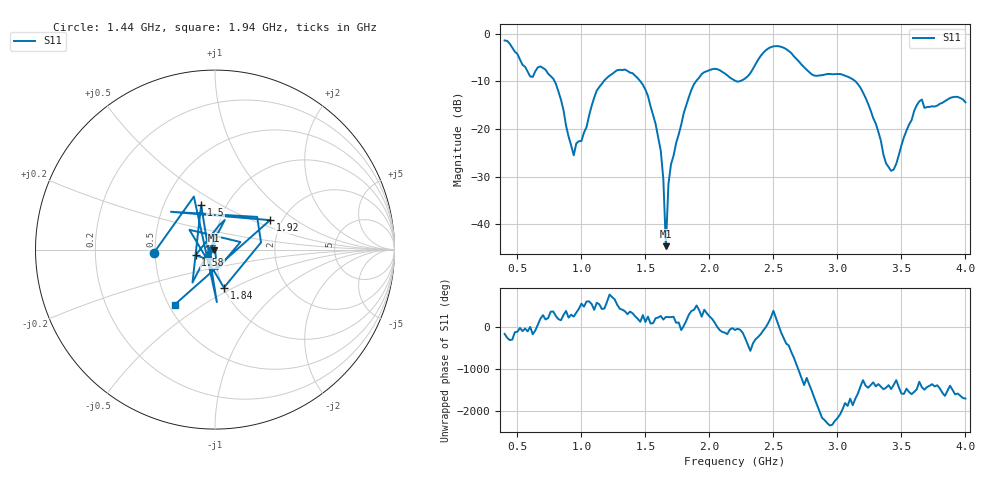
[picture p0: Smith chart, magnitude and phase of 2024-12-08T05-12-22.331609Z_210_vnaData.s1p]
!Created with skrf (http://scikit-rf.org).
# Hz S RI R 50.0
!freq ReS11 ImS11
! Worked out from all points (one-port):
!   181 points, 400 MHz to 4 GHz, reference 50 ohm
!   lowest |S11| = -44.6 dB at 1.66 GHz (marker M1), VSWR 1.01, Z = 49.6 - j0.432 ohm
!   |S11| at or under -10 dB: 791.3 MHz to 1.173 GHz (382 MHz wide, 38.9 % of centre); 1.461 GHz to 1.895 GHz (433.3 MHz wide, 25.8 % of centre); 3.142 GHz to end of sweep (the widest 3 of 4)
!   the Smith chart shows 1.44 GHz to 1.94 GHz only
!   S11 on the Smith chart (normalised r, x): 1.44 GHz: 0.49, -0.02; 1.5 GHz: 0.76, +0.41; 1.58 GHz: 0.80, -0.05; 1.84 GHz: 1.01, -0.45; 1.92 GHz: 1.73, +0.65; 1.94 GHz: 0.54, -0.38
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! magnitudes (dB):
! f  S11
! 400 MHz  -1.4
! 600 MHz  -8.9
! 680 MHz  -6.8
! 780 MHz  -9.4
! 860 MHz  -16.0
! 940 MHz  -25.5
! 1.12 GHz  -11.9
! 1.3 GHz  -7.6
! 1.44 GHz  -9.3
! 1.5 GHz  -11.7
! 1.58 GHz  -19.0
! 1.64 GHz  -30.5
! 1.66 GHz  -44.6
! 1.68 GHz  -31.6
! 1.76 GHz  -21.1
! 1.84 GHz  -13.2
! 1.92 GHz  -9.2
! 1.94 GHz  -8.4
! 2.2 GHz  -9.8
! 2.48 GHz  -2.8
! 2.66 GHz  -4.7
! 2.82 GHz  -8.8
! 3.1 GHz  -9.2
! 3.22 GHz  -13.4
! 3.42 GHz  -28.8
! 3.56 GHz  -19.0
! 3.66 GHz  -13.8
! 4 GHz  -14.4
